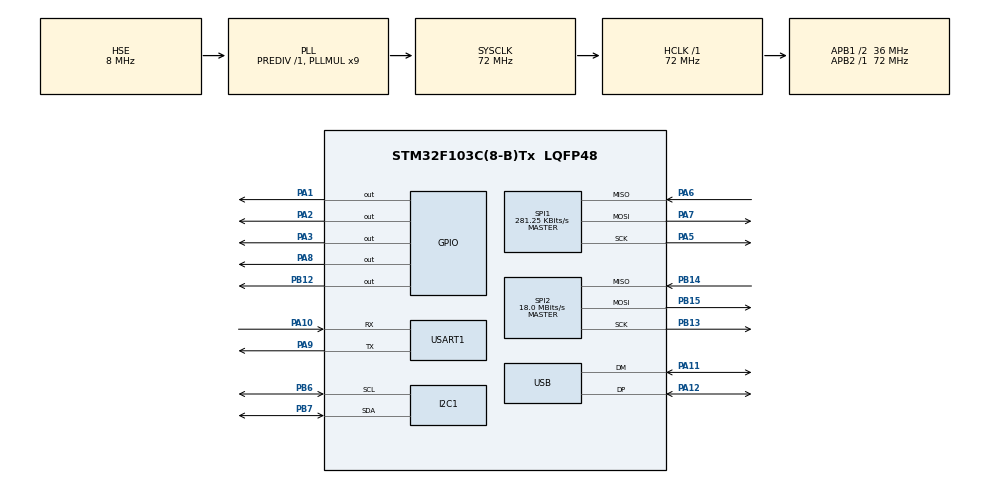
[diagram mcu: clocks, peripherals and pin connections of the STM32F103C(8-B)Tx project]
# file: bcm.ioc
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ADC1.Channel-0\#ChannelRegularConversion=ADC_CHANNEL_TEMPSENSOR
ADC1.NbrOfConversionFlag=1
ADC1.Rank-0\#ChannelRegularConversion=1
ADC1.SamplingTime-0\#ChannelRegularConversion=ADC_SAMPLETIME_1CYCLE_5
ADC1.master=1
FATFS._USE_LFN=1
Mcu.Family=STM32F1
Mcu.Name=STM32F103C(8-B)Tx
Mcu.Package=LQFP48
NVIC.PriorityGroup=NVIC_PRIORITYGROUP_4
NVIC.USART1_IRQn=true\:0\:0\:false\:false\:true\:true\:true\:true
NVIC.USB_LP_CAN1_RX0_IRQn=true\:0\:0\:false\:false\:true\:false\:true\:true
PA1.Signal=GPIO_Output
PA10.Mode=Asynchronous
PA10.Signal=USART1_RX
PA11.Mode=Device
PA11.Signal=USB_DM
PA12.Mode=Device
PA12.Signal=USB_DP
PA13.Mode=Trace_Asynchronous_SW
PA13.Signal=SYS_JTMS-SWDIO
PA14.Mode=Trace_Asynchronous_SW
PA14.Signal=SYS_JTCK-SWCLK
PA2.Signal=GPIO_Output
PA3.Signal=GPIO_Output
PA5.Mode=Full_Duplex_Master
PA5.Signal=SPI1_SCK
PA6.Mode=Full_Duplex_Master
PA6.Signal=SPI1_MISO
PA7.Mode=Full_Duplex_Master
PA7.Signal=SPI1_MOSI
PA8.GPIO_PuPd=GPIO_PULLDOWN
PA8.GPIO_Speed=GPIO_SPEED_FREQ_MEDIUM
PA8.Signal=GPIO_Output
PA9.Mode=Asynchronous
PA9.Signal=USART1_TX
PB12.Signal=GPIO_Output
PB13.Mode=Full_Duplex_Master
PB13.Signal=SPI2_SCK
PB14.Mode=Full_Duplex_Master
PB14.Signal=SPI2_MISO
PB15.Mode=Full_Duplex_Master
PB15.Signal=SPI2_MOSI
PB3.Mode=Trace_Asynchronous_SW
PB3.Signal=SYS_JTDO-TRACESWO
PB6.Mode=I2C
PB6.Signal=I2C1_SCL
PB7.Mode=I2C
PB7.Signal=I2C1_SDA
PC14-OSC32_IN.Mode=LSE-External-Oscillator
PC14-OSC32_IN.Signal=RCC_OSC32_IN
PC15-OSC32_OUT.Mode=LSE-External-Oscillator
PC15-OSC32_OUT.Signal=RCC_OSC32_OUT
PD0-OSC_IN.Mode=HSE-External-Oscillator
PD0-OSC_IN.Signal=RCC_OSC_IN
PD1-OSC_OUT.Mode=HSE-External-Oscillator
PD1-OSC_OUT.Signal=RCC_OSC_OUT
ProjectManager.HeapSize=0x200
ProjectManager.StackSize=0x400
ProjectManager.TargetToolchain=Makefile
RCC.ADCPresc=RCC_ADCPCLK2_DIV6
RCC.AHBFreq_Value=72000000
RCC.APB1CLKDivider=RCC_HCLK_DIV2
RCC.APB1Freq_Value=36000000
RCC.APB1TimFreq_Value=72000000
RCC.APB2Freq_Value=72000000
RCC.APB2TimFreq_Value=72000000
RCC.HCLKFreq_Value=72000000
RCC.PLLMUL=RCC_PLL_MUL9
RCC.RTCClockSelection=RCC_RTCCLKSOURCE_LSE
RCC.SYSCLKFreq_VALUE=72000000
RCC.SYSCLKSource=RCC_SYSCLKSOURCE_PLLCLK
RCC.USBFreq_Value=48000000
RCC.USBPrescaler=RCC_USBCLKSOURCE_PLL_DIV1_5
RTC.Hours=10
RTC.Year=25
SPI1.BaudRatePrescaler=SPI_BAUDRATEPRESCALER_256
SPI1.CalculateBaudRate=281.25 KBits/s
SPI1.Direction=SPI_DIRECTION_2LINES
SPI1.Mode=SPI_MODE_MASTER
SPI1.VirtualType=VM_MASTER
SPI2.CalculateBaudRate=18.0 MBits/s
SPI2.Direction=SPI_DIRECTION_2LINES
SPI2.Mode=SPI_MODE_MASTER
SPI2.VirtualType=VM_MASTER
USART1.VirtualMode=VM_ASYNC
USB_DEVICE.CLASS_NAME_FS=MSC
USB_DEVICE.VirtualMode=Msc
USB_DEVICE.VirtualModeFS=Msc_FS
VP_ADC1_TempSens_Input.Mode=IN-TempSens
VP_FATFS_VS_Generic.Mode=User_defined
VP_RTC_VS_RTC_Activate.Mode=RTC_Enabled
VP_RTC_VS_RTC_Calendar.Mode=RTC_Calendar
VP_USB_DEVICE_VS_USB_DEVICE_MSC_FS.Mode=MSC_FS
board=custom

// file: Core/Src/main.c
/* USER CODE BEGIN Header */
/**
  ******************************************************************************
  * @file           : main.c
  * @brief          : Main program body
  ******************************************************************************
  * @attention
  *
  * Copyright (c) 2025 STMicroelectronics.
  * All rights reserved.
  *
  * This software is licensed under terms that can be found in the LICENSE file
  * in the root directory of this software component.
  * If no LICENSE file comes with this software, it is provided AS-IS.
  *
  ******************************************************************************
  */
/* USER CODE END Header */
#include "main.h"
#include "fatfs.h"
#include "usb_device.h"

/* USER CODE BEGIN Includes */
#include "enc28j60.h"
#include "iplayer.h"
#include "transportlayer.h"
#include "dhcpd.h"
#include "ftpd.h"
#include "net.h"
#include <stdio.h>
#include <string.h>
#include "cmd.h"

#include "sd_card.h"

/* USER CODE END Includes */

/* USER CODE BEGIN PD */
#define CMD_MAX_LEN 64
/* USER CODE END PD */

ADC_HandleTypeDef hadc1;

I2C_HandleTypeDef hi2c1;

RTC_HandleTypeDef hrtc;

SPI_HandleTypeDef hspi1;
SPI_HandleTypeDef hspi2;

UART_HandleTypeDef huart1;

/* USER CODE BEGIN PV */
// CLI
static char inbuff[5] = {0};
static char cmd[CMD_MAX_LEN] = {0};
static uint8_t cmd_ptr = 0;

// NETWORK
struct inet_addr net_addr = {0};
static const uint8_t mac[] = {0xD2, 0x18, 0XBB, 0x55, 0x66, 0x77};
static long lastDhcpRequest = 0;
#define PBUFF_LEN 1400
static uint8_t pbuf[PBUFF_LEN] = {0};
static uint16_t plen = 0;
static char * fpass = "1234";

// SD CARD
uint8_t sect[512];
//extern char str1[60];
uint32_t byteswritten,bytesread;
//uint8_t result;
extern char USERPath[4]; /* logical drive path */
FATFS SDFatFs;
FATFS *fs;
FIL MyFile;
RTC_TimeTypeDef sTime;
RTC_DateTypeDef sDate;
/* USER CODE END PV */

void SystemClock_Config(void);
static void MX_GPIO_Init(void);
static void MX_SPI2_Init(void);
static void MX_USART1_UART_Init(void);
static void MX_SPI1_Init(void);
static void MX_RTC_Init(void);
static void MX_ADC1_Init(void);
static void MX_I2C1_Init(void);

/* USER CODE BEGIN 0 */
int _write(int file, char *ptr, int len)
{
    HAL_StatusTypeDef hstatus;

    if (file == 1 || file == 2) {
        /*uint16_t st = 0;
        do {
            st = HAL_UART_GetState(&huart1);
        } while (!(st & ( HAL_UART_STATE_READY)));*/
        hstatus = HAL_UART_Transmit(&huart1, (uint8_t*) ptr, len, HAL_MAX_DELAY);
        if (hstatus == HAL_OK)
            return len;
        else
            return -1;
    }
    return -1;
}
void HAL_UART_RxCpltCallback(UART_HandleTypeDef *huart)
{
    if (huart->Instance == USART1) {
        HAL_UART_Transmit(huart, (uint8_t*)inbuff, 1, 100);
        if (inbuff[0] == 0x0d) { // enter
            HAL_UART_Transmit(huart, (uint8_t*)"\n", 1, 100);
            if (cmd_ptr != 0) {
                cmd_process(cmd, cmd_ptr);
                memset(cmd, 0, CMD_MAX_LEN);
                cmd_ptr = 0;
            }
            HAL_UART_Transmit_IT(huart, (uint8_t*)"--#> ", 6);
        } else {
            cmd[cmd_ptr] = inbuff[0];
			if (cmd_ptr < CMD_MAX_LEN-1)
				cmd_ptr++;
        }

        HAL_UART_Receive_IT(huart, (uint8_t*)inbuff, 1);
    }
}
/* USER CODE END 0 */

int main(void)
{

  /* USER CODE BEGIN 1 */
	//FRESULT res; //ðåçóëüòàò âûïîëíåíèÿ
	//FILINFO fileInfo;
	//char *fn;
	//DIR dir;
	//DWORD fre_clust, fre_sect, tot_sect;

  /* USER CODE END 1 */

  /* MCU Configuration--------------------------------------------------------*/

  /* Reset of all peripherals, Initializes the Flash interface and the Systick. */
  HAL_Init();

  /* Configure the system clock */
  SystemClock_Config();

  /* Initialize all configured peripherals */
  MX_GPIO_Init();
  MX_SPI2_Init();
  MX_FATFS_Init();
  MX_USART1_UART_Init();
  MX_SPI1_Init();
  MX_RTC_Init();
  MX_ADC1_Init();
  MX_I2C1_Init();
  MX_USB_DEVICE_Init();
  /* USER CODE BEGIN 2 */
  printf("Hello from BCModule ver.%d\r\n\r\n", SW_VER);
  printf("Init system...\r\n");
  if (HAL_RTC_GetTime(&hrtc, &sTime, RTC_FORMAT_BIN) != HAL_OK)
  {
      Error_Handler();
  }
  if (HAL_RTC_GetDate(&hrtc, &sDate, RTC_FORMAT_BIN) != HAL_OK)
  {
      Error_Handler();
  }
  printf("Clock OK\r\n");
  printf("System time is set to %02d-%02d-20%02d %02d:%02d:%02d\r\n", sDate.Date, sDate.Month, sDate.Year,
          sTime.Hours, sTime.Minutes, sTime.Seconds);

    printf("SDCard Info:\r\n");
	disk_initialize(SDFatFs.drv);
	if(f_mount(&SDFatFs,(TCHAR const*)USERPath,0)!=FR_OK)
	{
		Error_Handler();
	}
    print_sdcard(NULL);
	//FATFS_UnLinkDriver(USERPath);

  enc28j60_set_spi(&hspi2);
  enc28j60Init(mac);
  printf("PHY module rev.%c\r\n", 'A' + enc28j60getrev());
  printf("PBUFF address 0x%lx\r\n", &pbuf);
  printf("Network OK\r\n");
  //enc28j60DisableBroadcast();
  //enc28j60DisableMulticast();

  lastDhcpRequest = HAL_GetTick();
  memcpy(net_addr.macaddr, mac, 6);
  printf("Getting IP from DHCP... (%x:%x:%x:%x:%x:%x)\r\n",
          net_addr.macaddr[0], net_addr.macaddr[1], net_addr.macaddr[2], net_addr.macaddr[3],
          net_addr.macaddr[4], net_addr.macaddr[5]);
  cmd_init(pbuf, PBUFF_LEN);
  initDhcp(&net_addr, pbuf, PBUFF_LEN);
  prepareIpLayer(&net_addr, pbuf, PBUFF_LEN);
  prepareTransportLayer(&net_addr, pbuf, PBUFF_LEN);

  ftpd_set_user_password(fpass);
  ftpd_set_cmd_sock(2);
  ftpd_set_data_sock(1);
  ftpdSetAddr(&net_addr);

  print_ipaddr(NULL);
  printf("\r\nSystem ready!\r\n");
  HAL_UART_Transmit(&huart1, (uint8_t*)"--#> ", 5, HAL_MAX_DELAY);
  HAL_UART_Receive_IT(&huart1, (uint8_t*)inbuff, 1);
  /* USER CODE END 2 */

  /* Infinite loop */
  /* USER CODE BEGIN WHILE */
  while (1)
  {

    // Network routine
    HAL_GPIO_WritePin(GPIOB, GPIO_PIN_12, GPIO_PIN_SET);
    plen = enc28j60PacketReceive(PBUFF_LEN, pbuf);
    HAL_GPIO_WritePin(GPIOB, GPIO_PIN_12, GPIO_PIN_RESET);
    if(arpCheckAndReply(pbuf, plen))
        continue;

    if(icmpCheckAndReply(pbuf, plen))
        continue;

    ftpd_routine(pbuf, plen);
    dhcpRenew();
    HAL_Delay(10);
    /* USER CODE END WHILE */

  }
}

void SystemClock_Config(void)
{
  RCC_OscInitTypeDef RCC_OscInitStruct = {0};
  RCC_ClkInitTypeDef RCC_ClkInitStruct = {0};
  RCC_PeriphCLKInitTypeDef PeriphClkInit = {0};

  /** Initializes the RCC Oscillators according to the specified parameters
  * in the RCC_OscInitTypeDef structure.
  */
  RCC_OscInitStruct.OscillatorType = RCC_OSCILLATORTYPE_HSE|RCC_OSCILLATORTYPE_LSE;
  RCC_OscInitStruct.HSEState = RCC_HSE_ON;
  RCC_OscInitStruct.HSEPredivValue = RCC_HSE_PREDIV_DIV1;
  RCC_OscInitStruct.LSEState = RCC_LSE_ON;
  RCC_OscInitStruct.HSIState = RCC_HSI_ON;
  RCC_OscInitStruct.PLL.PLLState = RCC_PLL_ON;
  RCC_OscInitStruct.PLL.PLLSource = RCC_PLLSOURCE_HSE;
  RCC_OscInitStruct.PLL.PLLMUL = RCC_PLL_MUL9;
  if (HAL_RCC_OscConfig(&RCC_OscInitStruct) != HAL_OK)
  {
    Error_Handler();
  }

  /** Initializes the CPU, AHB and APB buses clocks
  */
  RCC_ClkInitStruct.ClockType = RCC_CLOCKTYPE_HCLK|RCC_CLOCKTYPE_SYSCLK
                              |RCC_CLOCKTYPE_PCLK1|RCC_CLOCKTYPE_PCLK2;
  RCC_ClkInitStruct.SYSCLKSource = RCC_SYSCLKSOURCE_PLLCLK;
  RCC_ClkInitStruct.AHBCLKDivider = RCC_SYSCLK_DIV1;
  RCC_ClkInitStruct.APB1CLKDivider = RCC_HCLK_DIV2;
  RCC_ClkInitStruct.APB2CLKDivider = RCC_HCLK_DIV1;

  if (HAL_RCC_ClockConfig(&RCC_ClkInitStruct, FLASH_LATENCY_2) != HAL_OK)
  {
    Error_Handler();
  }
  PeriphClkInit.PeriphClockSelection = RCC_PERIPHCLK_RTC|RCC_PERIPHCLK_ADC
                              |RCC_PERIPHCLK_USB;
  PeriphClkInit.RTCClockSelection = RCC_RTCCLKSOURCE_LSE;
  PeriphClkInit.AdcClockSelection = RCC_ADCPCLK2_DIV6;
  PeriphClkInit.UsbClockSelection = RCC_USBCLKSOURCE_PLL_DIV1_5;
  if (HAL_RCCEx_PeriphCLKConfig(&PeriphClkInit) != HAL_OK)
  {
    Error_Handler();
  }
}

static void MX_ADC1_Init(void)
{

  ADC_ChannelConfTypeDef sConfig = {0};

  /** Common config
  */
  hadc1.Instance = ADC1;
  hadc1.Init.ScanConvMode = ADC_SCAN_DISABLE;
  hadc1.Init.ContinuousConvMode = DISABLE;
  hadc1.Init.DiscontinuousConvMode = DISABLE;
  hadc1.Init.ExternalTrigConv = ADC_SOFTWARE_START;
  hadc1.Init.DataAlign = ADC_DATAALIGN_RIGHT;
  hadc1.Init.NbrOfConversion = 1;
  if (HAL_ADC_Init(&hadc1) != HAL_OK)
  {
    Error_Handler();
  }

  /** Configure Regular Channel
  */
  sConfig.Channel = ADC_CHANNEL_TEMPSENSOR;
  sConfig.Rank = ADC_REGULAR_RANK_1;
  sConfig.SamplingTime = ADC_SAMPLETIME_1CYCLE_5;
  if (HAL_ADC_ConfigChannel(&hadc1, &sConfig) != HAL_OK)
  {
    Error_Handler();
  }

}

static void MX_I2C1_Init(void)
{

  hi2c1.Instance = I2C1;
  hi2c1.Init.ClockSpeed = 100000;
  hi2c1.Init.DutyCycle = I2C_DUTYCYCLE_2;
  hi2c1.Init.OwnAddress1 = 0;
  hi2c1.Init.AddressingMode = I2C_ADDRESSINGMODE_7BIT;
  hi2c1.Init.DualAddressMode = I2C_DUALADDRESS_DISABLE;
  hi2c1.Init.OwnAddress2 = 0;
  hi2c1.Init.GeneralCallMode = I2C_GENERALCALL_DISABLE;
  hi2c1.Init.NoStretchMode = I2C_NOSTRETCH_DISABLE;
  if (HAL_I2C_Init(&hi2c1) != HAL_OK)
  {
    Error_Handler();
  }

}

static void MX_RTC_Init(void)
{

  RTC_TimeTypeDef sTime = {0};
  RTC_DateTypeDef DateToUpdate = {0};

  /** Initialize RTC Only
  */
  hrtc.Instance = RTC;
  hrtc.Init.AsynchPrediv = RTC_AUTO_1_SECOND;
  hrtc.Init.OutPut = RTC_OUTPUTSOURCE_ALARM;
  if (HAL_RTC_Init(&hrtc) != HAL_OK)
  {
    Error_Handler();
  }

  /** Initialize RTC and set the Time and Date
  */
  sTime.Hours = 0x10;
  sTime.Minutes = 0x0;
  sTime.Seconds = 0x0;

  if (HAL_RTC_SetTime(&hrtc, &sTime, RTC_FORMAT_BCD) != HAL_OK)
  {
    Error_Handler();
  }
  DateToUpdate.WeekDay = RTC_WEEKDAY_MONDAY;
  DateToUpdate.Month = RTC_MONTH_JANUARY;
  DateToUpdate.Date = 0x1;
  DateToUpdate.Year = 0x25;

  if (HAL_RTC_SetDate(&hrtc, &DateToUpdate, RTC_FORMAT_BCD) != HAL_OK)
  {
    Error_Handler();
  }

}

static void MX_SPI1_Init(void)
{

  /* SPI1 parameter configuration*/
  hspi1.Instance = SPI1;
  hspi1.Init.Mode = SPI_MODE_MASTER;
  hspi1.Init.Direction = SPI_DIRECTION_2LINES;
  hspi1.Init.DataSize = SPI_DATASIZE_8BIT;
  hspi1.Init.CLKPolarity = SPI_POLARITY_LOW;
  hspi1.Init.CLKPhase = SPI_PHASE_1EDGE;
  hspi1.Init.NSS = SPI_NSS_SOFT;
  hspi1.Init.BaudRatePrescaler = SPI_BAUDRATEPRESCALER_256;
  hspi1.Init.FirstBit = SPI_FIRSTBIT_MSB;
  hspi1.Init.TIMode = SPI_TIMODE_DISABLE;
  hspi1.Init.CRCCalculation = SPI_CRCCALCULATION_DISABLE;
  hspi1.Init.CRCPolynomial = 10;
  if (HAL_SPI_Init(&hspi1) != HAL_OK)
  {
    Error_Handler();
  }

}

static void MX_SPI2_Init(void)
{

  /* SPI2 parameter configuration*/
  hspi2.Instance = SPI2;
  hspi2.Init.Mode = SPI_MODE_MASTER;
  hspi2.Init.Direction = SPI_DIRECTION_2LINES;
  hspi2.Init.DataSize = SPI_DATASIZE_8BIT;
  hspi2.Init.CLKPolarity = SPI_POLARITY_LOW;
  hspi2.Init.CLKPhase = SPI_PHASE_1EDGE;
  hspi2.Init.NSS = SPI_NSS_SOFT;
  hspi2.Init.BaudRatePrescaler = SPI_BAUDRATEPRESCALER_2;
  hspi2.Init.FirstBit = SPI_FIRSTBIT_MSB;
  hspi2.Init.TIMode = SPI_TIMODE_DISABLE;
  hspi2.Init.CRCCalculation = SPI_CRCCALCULATION_DISABLE;
  hspi2.Init.CRCPolynomial = 10;
  if (HAL_SPI_Init(&hspi2) != HAL_OK)
  {
    Error_Handler();
  }

}

static void MX_USART1_UART_Init(void)
{

  huart1.Instance = USART1;
  huart1.Init.BaudRate = 115200;
  huart1.Init.WordLength = UART_WORDLENGTH_8B;
  huart1.Init.StopBits = UART_STOPBITS_1;
  huart1.Init.Parity = UART_PARITY_NONE;
  huart1.Init.Mode = UART_MODE_TX_RX;
  huart1.Init.HwFlowCtl = UART_HWCONTROL_NONE;
  huart1.Init.OverSampling = UART_OVERSAMPLING_16;
  if (HAL_UART_Init(&huart1) != HAL_OK)
  {
    Error_Handler();
  }

}

static void MX_GPIO_Init(void)
{
  GPIO_InitTypeDef GPIO_InitStruct = {0};

  /* GPIO Ports Clock Enable */
  __HAL_RCC_GPIOC_CLK_ENABLE();
  __HAL_RCC_GPIOD_CLK_ENABLE();
  __HAL_RCC_GPIOA_CLK_ENABLE();
  __HAL_RCC_GPIOB_CLK_ENABLE();

  /*Configure GPIO pin Output Level */
  HAL_GPIO_WritePin(GPIOA, GPIO_PIN_1|GPIO_PIN_2|GPIO_PIN_3|GPIO_PIN_8, GPIO_PIN_RESET);

  /*Configure GPIO pin Output Level */
  HAL_GPIO_WritePin(GPIOB, GPIO_PIN_12, GPIO_PIN_RESET);

  /*Configure GPIO pins : PA1 PA2 PA3 */
  GPIO_InitStruct.Pin = GPIO_PIN_1|GPIO_PIN_2|GPIO_PIN_3;
  GPIO_InitStruct.Mode = GPIO_MODE_OUTPUT_PP;
  GPIO_InitStruct.Pull = GPIO_NOPULL;
  GPIO_InitStruct.Speed = GPIO_SPEED_FREQ_LOW;
  HAL_GPIO_Init(GPIOA, &GPIO_InitStruct);

  /*Configure GPIO pin : PB12 */
  GPIO_InitStruct.Pin = GPIO_PIN_12;
  GPIO_InitStruct.Mode = GPIO_MODE_OUTPUT_PP;
  GPIO_InitStruct.Pull = GPIO_NOPULL;
  GPIO_InitStruct.Speed = GPIO_SPEED_FREQ_LOW;
  HAL_GPIO_Init(GPIOB, &GPIO_InitStruct);

  /*Configure GPIO pin : PA8 */
  GPIO_InitStruct.Pin = GPIO_PIN_8;
  GPIO_InitStruct.Mode = GPIO_MODE_OUTPUT_PP;
  GPIO_InitStruct.Pull = GPIO_PULLDOWN;
  GPIO_InitStruct.Speed = GPIO_SPEED_FREQ_MEDIUM;
  HAL_GPIO_Init(GPIOA, &GPIO_InitStruct);

}

void Error_Handler(void)
{
  __disable_irq();
  while (1)
  {
  }
}
